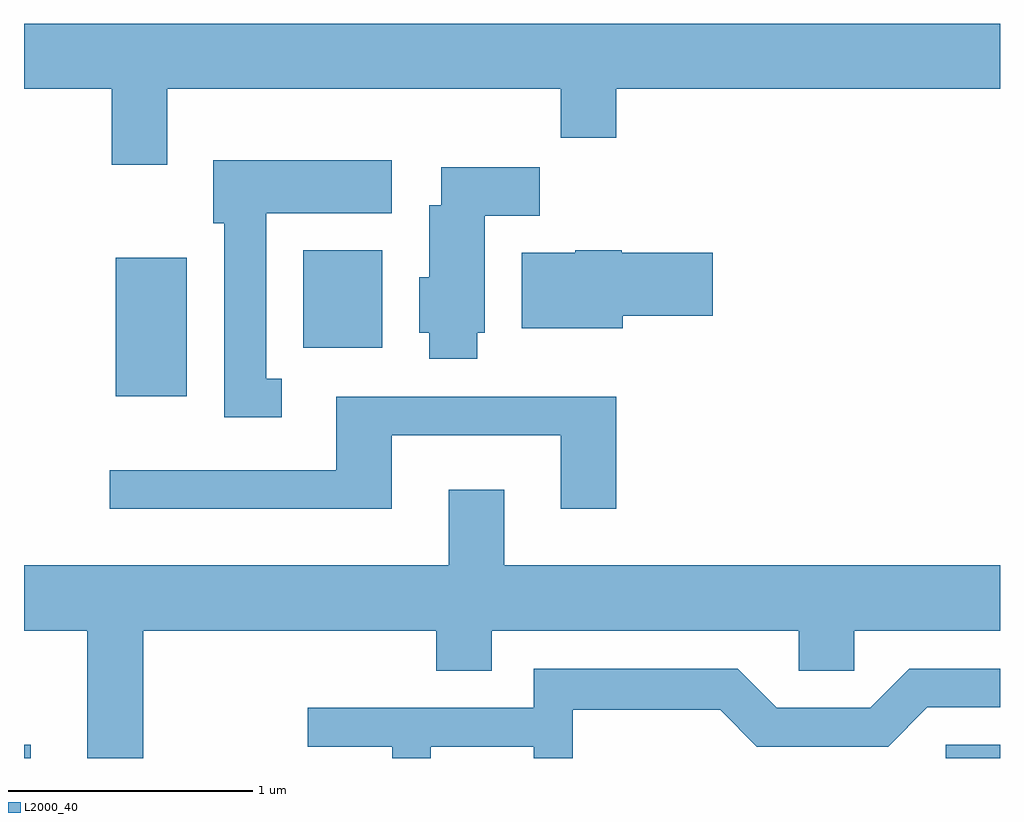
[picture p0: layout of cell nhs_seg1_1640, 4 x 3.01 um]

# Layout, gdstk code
import gdstk
lib = gdstk.Library(unit=1e-6, precision=1e-09)
def R(c, l, rs):  # rectangles x0, y0, x1, y1
    for r in rs: c.add(gdstk.rectangle(r[:2], r[2:], *l))
def P(c, l, *ps):  # polygons
    for p in ps: c.add(gdstk.Polygon(p, *l))
L2000_40 = (2000, 40)

nhs_seg1_1640 = lib.new_cell('nhs_seg1_1640')
R(nhs_seg1_1640, L2000_40, [(235.611,905.712,235.639,905.769), (239.388,905.712,239.611,905.769), (235.986,907.196,236.279,907.764), (236.756,907.396,237.079,907.794)])
P(nhs_seg1_1640, L2000_40, [(236.199,908.456),(237.811,908.456),(237.811,908.256),(238.039,908.256),(238.039,908.456),(239.611,908.456),(239.611,908.724),(235.611,908.724),(235.611,908.456),(235.971,908.456),(235.971,908.146),(236.199,908.146)],
  [(236.668,907.269),(236.604,907.269),(236.604,907.946),(237.119,907.946),(237.119,908.164),(236.386,908.164),(236.386,907.906),(236.431,907.906),(236.431,907.111),(236.668,907.111)],
  [(237.469,907.456),(237.499,907.456),(237.499,907.936),(237.724,907.936),(237.724,908.134),(237.321,908.134),(237.321,907.979),(237.271,907.979),(237.271,907.684),(237.231,907.684),(237.231,907.456),(237.271,907.456),(237.271,907.351),(237.469,907.351)],
  [(238.064,907.526),(238.434,907.526),(238.434,907.784),(238.06,907.784),(238.06,907.794),(237.87,907.794),(237.87,907.784),(237.651,907.784),(237.651,907.476),(238.064,907.476)],
  [(237.119,907.036),(237.811,907.036),(237.811,906.736),(238.039,906.736),(238.039,907.194),(236.891,907.194),(236.891,906.894),(235.963,906.894),(235.963,906.736),(237.119,906.736)],
  [(236.099,906.236),(237.301,906.236),(237.301,906.071),(237.529,906.071),(237.529,906.236),(238.786,906.236),(238.786,906.071),(239.014,906.071),(239.014,906.236),(239.611,906.236),(239.611,906.504),(237.579,906.504),(237.579,906.814),(237.351,906.814),(237.351,906.504),(235.611,906.504),(235.611,906.236),(235.871,906.236),(235.871,905.712),(236.099,905.712)],
  [(237.279,905.761),(237.701,905.761),(237.701,905.712),(237.859,905.712),(237.859,905.911),(238.464,905.911),(238.614,905.761),(239.152,905.761),(239.312,905.921),(239.611,905.921),(239.611,906.079),(239.239,906.079),(239.079,905.919),(238.697,905.919),(238.537,906.079),(237.701,906.079),(237.701,905.919),(236.773,905.919),(236.773,905.761),(237.121,905.761),(237.121,905.712),(237.279,905.712)])

lib.write_gds('nhs_seg1_1640.gds')
